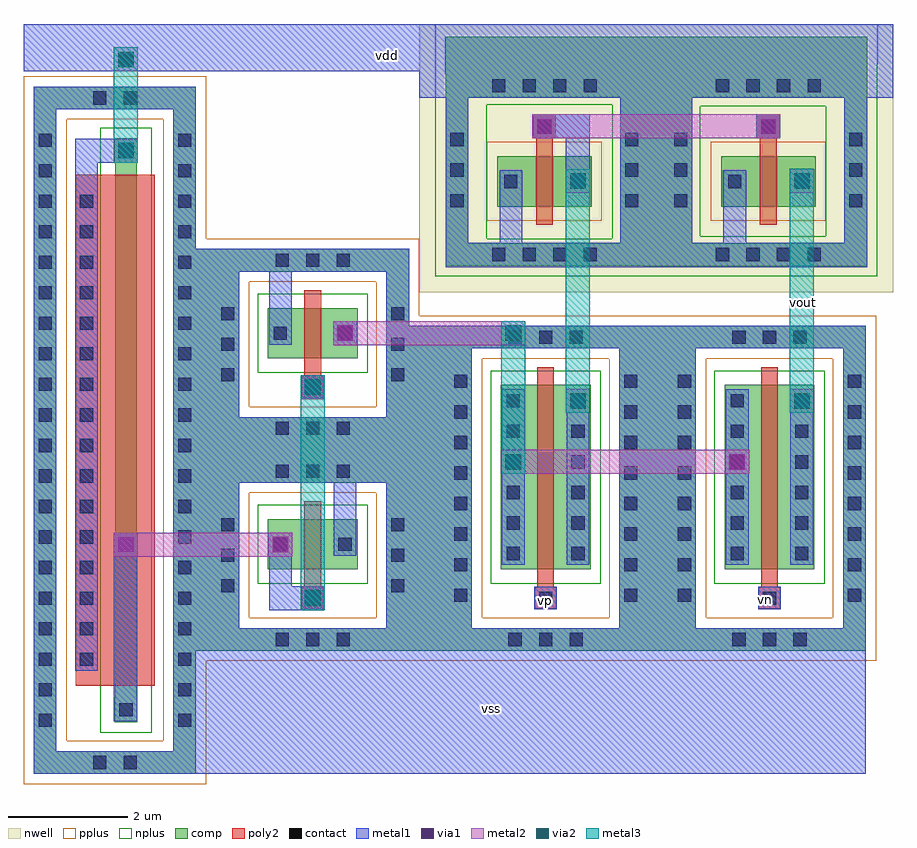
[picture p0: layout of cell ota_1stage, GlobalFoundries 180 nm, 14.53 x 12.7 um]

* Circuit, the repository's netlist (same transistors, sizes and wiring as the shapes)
** sch_path: /foss/designs/Mosbious_2025_Spikcore/designs/libs/core_LIF_comp/core_ota_1stage/ota_1stage.sch
.subckt ota_1stage vdd vout vp vn vss
*.PININFO vdd:B vss:B vp:B vn:B vout:B
XM1 net1 net1 vdd vdd pfet_03v3 L=0.28u W=0.84u nf=1 m=1
XM2 net1 vp net2 vss nfet_03v3 L=0.28u W=3.08u nf=1 m=1
XM4 vout net1 vdd vdd pfet_03v3 L=0.28u W=0.84u nf=1 m=1
XM3 vout vn net2 vss nfet_03v3 L=0.28u W=3.08u nf=1 m=1
XM5 net2 net3 vss vss nfet_03v3 L=0.28u W=0.84u nf=1 m=1
XM6 net3 net3 vss vss nfet_03v3 L=0.28u W=0.84u nf=1 m=1
XM7 vdd vdd net3 vss nfet_03v3 L=8.54u W=0.36u nf=1 m=1
.ends

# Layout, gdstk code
from math import pi, radians
import gdstk
lib = gdstk.Library(unit=1e-6, precision=5e-09)
def R(c, l, rs):  # rectangles x0, y0, x1, y1
    for r in rs: c.add(gdstk.rectangle(r[:2], r[2:], *l))
def A(c, l, x, y, w, h, nx, ny, dx, dy):  # array of equal rectangles
    R(c, l, [(x+i*dx, y+j*dy, x+i*dx+w, y+j*dy+h) for i in range(nx) for j in range(ny)])
def P(c, l, *ps):  # polygons
    for p in ps: c.add(gdstk.Polygon(p, *l))
nwell = (21, 0)
comp = (22, 0)
poly2 = (30, 0)
pplus = (31, 0)
nplus = (32, 0)
contact = (33, 0)
metal1 = (34, 0)
via1 = (35, 0)
metal2 = (36, 0)
via2 = (38, 0)
metal3 = (42, 0)

nfet = lib.new_cell('nfet')
R(nfet, comp, [(-0.42,-0.01,0,0.37), (8.92,-0.01,9.34,0.37), (0,0,8.92,0.36)])
P(nfet, comp, [(-1.28,-0.99),(-1.28,1.34),(-0.9,1.34),(-0.9,-0.61),(9.82,-0.61),(9.82,1.34),(-1.28,1.34),(-1.28,1.72),(10.2,1.72),(10.2,-0.99)])
R(nfet, poly2, [(0.19,-0.3,8.73,0.66), (0.19,0.66,8.73,1.02)])
P(nfet, pplus, [(-1.45,-1.16),(-1.45,1.17),(-0.73,1.17),(-0.73,-0.44),(9.65,-0.44),(9.65,1.17),(-1.45,1.17),(-1.45,1.89),(10.37,1.89),(10.37,-1.16)])
R(nfet, nplus, [(-0.59,-0.25,9.51,0.61)])
A(nfet, contact, -0.495, -0.91, 0.22, 0.22, 20, 2, 0.51, 2.33)
A(nfet, contact, 0.525, 0.73, 0.22, 0.22, 16, 1, 0.51, 0)
R(nfet, contact, [(-1.2,0,-0.98,0.22), (9.9,0,10.12,0.22), (-0.32,0.07,-0.1,0.29), (9.02,0.07,9.24,0.29), (-1.2,0.51,-0.98,0.73), (9.9,0.51,10.12,0.73)])
R(nfet, metal1, [(-0.4,-0.01,-0.02,0.37), (8.94,-0.01,9.32,0.37), (0.445,0.65,8.475,1.03)])

via_dev = lib.new_cell('via_dev')
R(via_dev, metal1, [(0,0,0.4,0.4)])
R(via_dev, via1, [(0.07,0.07,0.33,0.33)])
R(via_dev, metal2, [(0,0,0.4,0.4)])
R(via_dev, via2, [(0.07,0.07,0.33,0.33)])
R(via_dev, metal3, [(0,0,0.4,0.4)])

via_dev_1 = lib.new_cell('via_dev$1')
R(via_dev_1, metal1, [(0,0,0.4,0.4)])
R(via_dev_1, via1, [(0.07,0.07,0.33,0.33)])
R(via_dev_1, metal2, [(0,0,0.4,0.4)])

nfet_1 = lib.new_cell('nfet$1')
R(nfet_1, comp, [(-0.42,0,0,3.08), (0,0,0.66,3.08), (0.66,0,1.08,3.08)])
P(nfet_1, comp, [(-1.28,-1.36),(-1.28,3.69),(-0.9,3.69),(-0.9,-0.98),(1.56,-0.98),(1.56,3.69),(-1.28,3.69),(-1.28,4.07),(1.94,4.07),(1.94,-1.36)])
R(nfet_1, poly2, [(0.15,-0.66,0.51,-0.3), (0.19,-0.3,0.47,3.38)])
P(nfet_1, pplus, [(-1.45,-1.53),(-1.45,3.52),(-0.73,3.52),(-0.73,-0.81),(1.39,-0.81),(1.39,3.52),(-1.45,3.52),(-1.45,4.24),(2.11,4.24),(2.11,-1.53)])
R(nfet_1, nplus, [(-0.59,-0.24,1.25,3.32)])
A(nfet_1, contact, -0.29, -1.28, 0.22, 0.22, 3, 2, 0.51, 5.05)
A(nfet_1, contact, -1.2, -0.54, 0.22, 0.22, 1, 8, 0, 0.51)
A(nfet_1, contact, 1.64, -0.54, 0.22, 0.22, 1, 8, 0, 0.51)
A(nfet_1, contact, -0.32, 0.155, 0.22, 0.22, 1, 6, 0, 0.51)
A(nfet_1, contact, 0.76, 0.155, 0.22, 0.22, 1, 6, 0, 0.51)
R(nfet_1, contact, [(0.22,-0.59,0.44,-0.37)])
R(nfet_1, metal1, [(0.14,-0.67,0.52,-0.29), (-0.4,0.075,-0.02,3.005), (0.68,0.075,1.06,3.005)])

nfet_2 = lib.new_cell('nfet$2')
R(nfet_2, comp, [(-0.42,0,0,0.84), (0,0,0.66,0.84), (0.66,0,1.08,0.84)])
P(nfet_2, comp, [(-1.28,-1.36),(-1.28,1.45),(-0.9,1.45),(-0.9,-0.98),(1.56,-0.98),(1.56,1.45),(-1.28,1.45),(-1.28,1.83),(1.94,1.83),(1.94,-1.36)])
R(nfet_2, poly2, [(0.15,-0.66,0.51,-0.3), (0.19,-0.3,0.47,1.14)])
P(nfet_2, pplus, [(-1.45,-1.53),(-1.45,1.28),(-0.73,1.28),(-0.73,-0.81),(1.39,-0.81),(1.39,1.28),(-1.45,1.28),(-1.45,2),(2.11,2),(2.11,-1.53)])
R(nfet_2, nplus, [(-0.59,-0.24,1.25,1.08)])
A(nfet_2, contact, -0.29, -1.28, 0.22, 0.22, 3, 2, 0.51, 2.81)
A(nfet_2, contact, -1.2, -0.385, 0.22, 0.22, 1, 3, 0, 0.51)
A(nfet_2, contact, 1.64, -0.385, 0.22, 0.22, 1, 3, 0, 0.51)
R(nfet_2, contact, [(0.22,-0.59,0.44,-0.37), (-0.32,0.31,-0.1,0.53), (0.76,0.31,0.98,0.53)])
R(nfet_2, metal1, [(0.14,-0.67,0.52,-0.29), (-0.4,0.23,-0.02,0.61), (0.68,0.23,1.06,0.61)])

via_dev_2 = lib.new_cell('via_dev$2')
R(via_dev_2, metal2, [(0,0,0.4,0.4)])
R(via_dev_2, via2, [(0.07,0.07,0.33,0.33)])
R(via_dev_2, metal3, [(0,0,0.4,0.4)])

pfet = lib.new_cell('pfet')
R(pfet, nwell, [(-1.76,-1.43,2.42,2.65)])
R(pfet, comp, [(-0.46,0,0,0.84), (0,0,0.66,0.84), (0.66,0,1.12,0.84)])
P(pfet, comp, [(-1.32,-0.99),(-1.32,1.83),(-0.94,1.83),(-0.94,-0.61),(1.6,-0.61),(1.6,1.83),(-1.32,1.83),(-1.32,2.21),(1.98,2.21),(1.98,-0.99)])
R(pfet, poly2, [(0.19,-0.3,0.47,1.14), (0.14,1.14,0.52,1.52)])
R(pfet, pplus, [(-0.63,-0.24,1.29,1.08)])
A(pfet, contact, -0.545, -0.91, 0.22, 0.22, 4, 2, 0.51, 2.82)
A(pfet, contact, -1.24, -0.01, 0.22, 0.22, 1, 3, 0, 0.51)
A(pfet, contact, 1.68, -0.01, 0.22, 0.22, 1, 3, 0, 0.51)
R(pfet, contact, [(-0.34,0.31,-0.12,0.53), (0.78,0.31,1,0.53), (0.22,1.22,0.44,1.44)])
R(pfet, metal1, [(-0.42,0.23,-0.04,0.61), (0.7,0.23,1.08,0.61), (0.14,1.14,0.52,1.52)])

ota_1stage = lib.new_cell('ota_1stage')
P(ota_1stage, nwell, [(3.58,2.745),(3.58,6.825),(-4.02,6.825),(-4.02,7.225),(3.9,7.225),(3.9,6.825),(3.7,6.825),(3.7,2.745)])
R(ota_1stage, comp, [(-7.75,-3.245,-7.41,3.47), (-4.19,-3.245,-3.52,2.185), (-0.3,-3.245,0.22,2.185), (-7.41,-0.055,-4.19,0.28), (-0.28,3.195,0.16,6.395), (-3.58,6.3,3.46,6.715)])
P(ota_1stage, comp, [(-0.28,3.18),(-0.28,6.385),(-3.59,6.385),(-3.59,7.015),(3.46,7.015),(3.46,6.385),(0.4,6.385),(0.4,3.635),(0.44,3.635),(0.44,3.325),(3.46,3.325),(3.46,3.18)])
R(ota_1stage, pplus, [(-4.02,-3.415,-3.69,2.355), (-0.13,-3.415,0.05,2.355)])
P(ota_1stage, nplus, [(-3.75,3.015),(-3.75,5.875),(-2.89,5.875),(-2.89,3.635),(-0.795,3.635),(-0.795,5.855),(0.675,5.855),(0.675,3.68),(2.77,3.68),(2.77,5.855),(-0.795,5.855),(-0.795,5.875),(-3.75,5.875),(-3.75,7.225),(3.635,7.225),(3.635,6.555),(3.63,6.555),(3.63,3.015)])
R(ota_1stage, metal1, [(-7.75,-5.3,-7.41,3.47), (-7.41,-5.3,3.44,-3.23), (-9.12,-4.42,-8.73,-1.34), (-4.19,-3.23,-3.52,2.185), (-5.45,-1.47,-5.07,-0.435), (-6.53,2.035,-6.15,3.085), (-2.68,3.575,-2.3,4.52), (1.06,3.575,1.44,4.535), (-1.57,4.65,-1.17,5.715), (-1.815,5.315,-1.24,5.715), (-4.02,5.99,3.9,6.64), (-10.63,6.435,3.9,7.225)])
P(ota_1stage, metal1, [(-3.52,-3.245),(-3.52,1.805),(-3.14,1.805),(-3.14,-2.865),(-0.68,-2.865),(-0.68,1.805),(0.6,1.805),(0.6,-2.865),(3.06,-2.865),(3.06,1.805),(-3.52,1.805),(-3.52,2.185),(3.44,2.185),(3.44,-3.245)],
  [(-7.41,-3.24),(-7.41,-0.43),(-7.03,-0.43),(-7.03,-2.865),(-4.57,-2.865),(-4.57,-0.435),(-7.41,-0.435),(-7.41,3.085),(-7.03,3.085),(-7.03,0.66),(-4.57,0.66),(-4.57,3.085),(-7.41,3.085),(-7.41,3.47),(-4.19,3.47),(-4.19,-3.24)],
  [(-6.53,-2.565),(-6.53,-1.655),(-6.15,-1.655),(-6.15,-2.165),(-5.99,-2.165),(-5.99,-2.565)],
  [(-3.58,3.165),(-3.58,6.015),(-3.2,6.015),(-3.2,3.575),(-0.66,3.575),(-0.66,6.015),(0.54,6.015),(0.54,3.575),(3.08,3.575),(3.08,6.015),(-3.58,6.015),(-3.58,6.395),(3.46,6.395),(3.46,3.165)],
  [(-9.77,4.455),(-9.77,5.31),(-9.12,5.31),(-9.12,4.91),(-9.39,4.91),(-9.39,4.455)],
  [(-10.46,-5.3),(-10.46,6.18),(-7.75,6.18),(-7.75,-5.3),(-10.08,-5.3),(-10.08,-4.92),(-8.13,-4.92),(-8.13,5.8),(-10.08,5.8),(-10.08,-5.3)])
R(ota_1stage, metal2, [(-9.1,-1.67,-6.415,-1.27), (-2.415,-0.29,1.285,0.11), (-5.46,1.86,-2.58,2.26), (-1.73,5.315,1.61,5.715)])
R(ota_1stage, metal3, [(-6,-2.38,-5.6,1.165), (-2.65,-0.07,-2.25,2.105), (-1.57,0.89,-1.17,4.605), (2.17,0.89,2.57,4.58), (-9.12,5.08,-8.72,6.66)])
ota_1stage.add(gdstk.Reference(nfet, (-8.74,-4.02), rotation=pi/2))
ota_1stage.add(gdstk.Reference(via_dev, (2.17,4.405)))
ota_1stage.add(gdstk.Reference(via_dev, (-1.57,4.4)))
ota_1stage.add(gdstk.Reference(via_dev_1, (-2.13,5.315)))
ota_1stage.add(gdstk.Reference(via_dev_1, (1.61,5.315)))
ota_1stage.add(gdstk.Reference(via_dev, (2.17,0.73)))
ota_1stage.add(gdstk.Reference(via_dev, (-1.57,0.73)))
ota_1stage.add(gdstk.Reference(nfet_1, (-2.24,-1.885)))
ota_1stage.add(gdstk.Reference(nfet_1, (1.5,-1.885)))
ota_1stage.add(gdstk.Reference(via_dev_1, (1.09,-0.29)))
ota_1stage.add(gdstk.Reference(nfet_2, (-6.13,1.64)))
ota_1stage.add(gdstk.Reference(via_dev, (-2.65,-0.29)))
ota_1stage.add(gdstk.Reference(via_dev_1, (-5.46,1.86)))
ota_1stage.add(gdstk.Reference(via_dev, (-6,0.96)))
ota_1stage.add(gdstk.Reference(nfet_2, (-6.13,-1.885)))
ota_1stage.add(gdstk.Reference(via_dev, (-8.72,4.91), rotation=pi/2))
ota_1stage.add(gdstk.Reference(via_dev, (-9.12,6.435)))
ota_1stage.add(gdstk.Reference(via_dev_1, (-6.54,-1.67)))
ota_1stage.add(gdstk.Reference(via_dev_2, (-2.65,1.86)))
ota_1stage.add(gdstk.Reference(via_dev, (-6,-2.565)))
ota_1stage.add(gdstk.Reference(via_dev_1, (-8.72,-1.67), rotation=pi/2))
ota_1stage.add(gdstk.Reference(pfet, (1.48,4.175)))
ota_1stage.add(gdstk.Reference(pfet, (-2.26,4.175)))
ota_1stage.add(gdstk.Label('vdd', (-4.545,6.695), layer=34, texttype=10))
ota_1stage.add(gdstk.Label('vp', (-1.92,-2.4), layer=34, texttype=10))
ota_1stage.add(gdstk.Label('vn', (1.765,-2.385), layer=34, texttype=10))
ota_1stage.add(gdstk.Label('vss', (-2.815,-4.215), layer=34, texttype=10))
ota_1stage.add(gdstk.Label('vout', (2.4,2.57), layer=42, texttype=10))

lib.write_gds('ota_1stage.gds')
